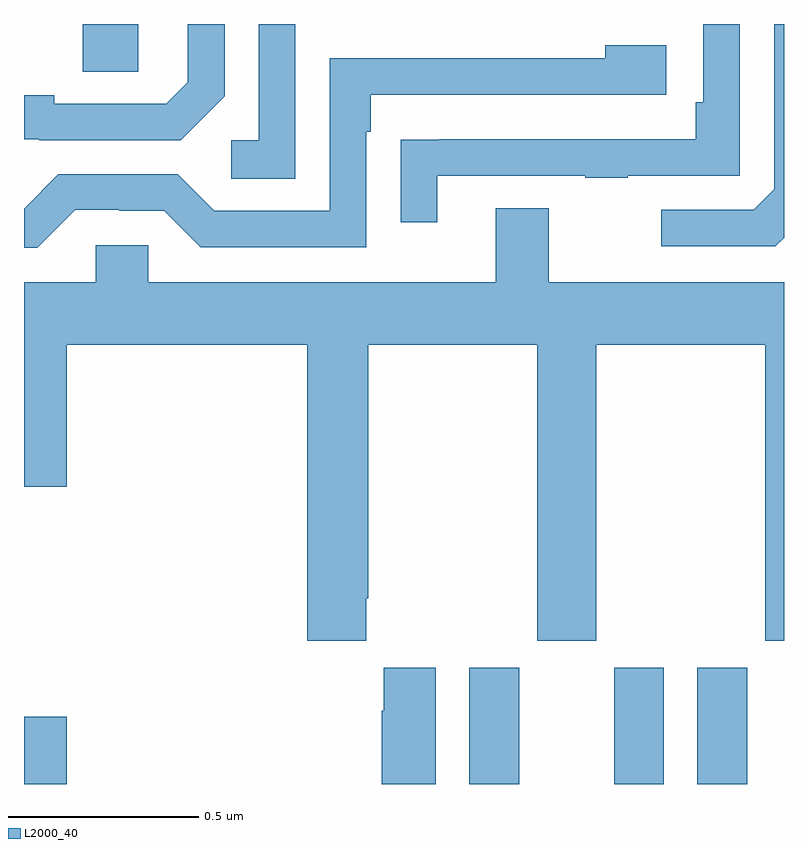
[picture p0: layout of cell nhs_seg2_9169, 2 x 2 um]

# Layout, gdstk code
import gdstk
lib = gdstk.Library(unit=1e-6, precision=1e-09)
def R(c, l, rs):  # rectangles x0, y0, x1, y1
    for r in rs: c.add(gdstk.rectangle(r[:2], r[2:], *l))
def P(c, l, *ps):  # polygons
    for p in ps: c.add(gdstk.Polygon(p, *l))
L2000_40 = (2000, 40)

nhs_seg2_9169 = lib.new_cell('nhs_seg2_9169')
R(nhs_seg2_9169, L2000_40, [(225,659.8,225.112,659.977), (226.172,659.8,226.303,660.106), (226.553,659.8,226.684,660.106), (226.772,659.8,226.903,660.106), (225.155,661.675,225.3,661.8)])
P(nhs_seg2_9169, L2000_40, [(227,661.238),(227,661.8),(226.974,661.8),(226.974,661.365),(226.92,661.311),(226.677,661.311),(226.677,661.215),(226.977,661.215)],
  [(226.087,661.401),(226.477,661.401),(226.477,661.396),(226.589,661.396),(226.589,661.401),(226.884,661.401),(226.884,661.8),(226.788,661.8),(226.788,661.594),(226.768,661.594),(226.768,661.497),(226.093,661.497),(226.093,661.496),(225.991,661.496),(225.991,661.278),(226.087,661.278)],
  [(225.528,661.61),(225.528,661.8),(225.431,661.8),(225.431,661.647),(225.374,661.59),(225.079,661.59),(225.079,661.613),(225,661.613),(225,661.497),(225.04,661.497),(225.04,661.494),(225.412,661.494)],
  [(225.714,661.8),(225.618,661.8),(225.618,661.494),(225.546,661.494),(225.546,661.393),(225.714,661.393)],
  [(225.135,661.311),(225.251,661.311),(225.251,661.308),(225.369,661.308),(225.465,661.212),(225.9,661.212),(225.9,661.517),(225.913,661.517),(225.913,661.614),(226.69,661.614),(226.69,661.744),(226.529,661.744),(226.529,661.71),(225.804,661.71),(225.804,661.308),(225.501,661.308),(225.405,661.404),(225.09,661.404),(225,661.314),(225,661.211),(225.035,661.211)],
  [(225.901,660.289),(225.906,660.289),(225.906,660.956),(226.351,660.956),(226.351,660.177),(226.506,660.177),(226.506,660.956),(226.951,660.956),(226.951,660.177),(227,660.177),(227,661.12),(226.381,661.12),(226.381,661.315),(226.241,661.315),(226.241,661.12),(225.327,661.12),(225.327,661.218),(225.189,661.218),(225.189,661.12),(225,661.12),(225,660.582),(225.112,660.582),(225.112,660.956),(225.746,660.956),(225.746,660.177),(225.901,660.177)],
  [(226.084,660.106),(225.947,660.106),(225.947,659.993),(225.941,659.993),(225.941,659.8),(226.084,659.8)])

lib.write_gds('nhs_seg2_9169.gds')
